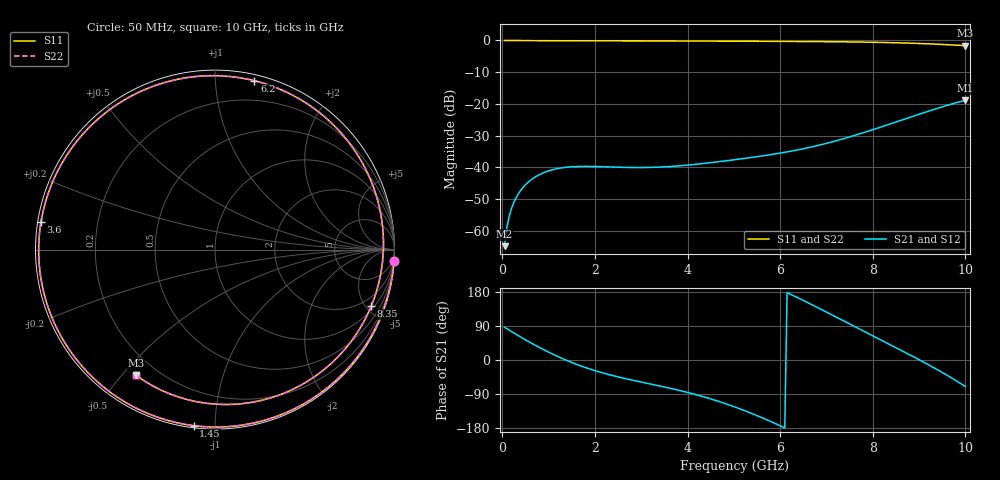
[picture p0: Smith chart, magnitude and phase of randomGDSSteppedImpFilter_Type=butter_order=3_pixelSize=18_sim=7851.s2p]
! freq	dB(S11)	phase(S11)	dB(S12)	phase(S12)
!  dB(S21)	phase(S21)	dB(S22)	phase(S22)
!S-par simulation data
#  GHz  S  DB  R 50
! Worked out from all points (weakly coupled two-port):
!   200 points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, 50 MHz to 10 GHz, reference 50 ohm
!   highest |S21| = -18.90 dB at 10 GHz (marker M1); lowest = -64.9 dB at 50 MHz (marker M2)
!   lowest |S11| = -1.6 dB at 10 GHz (marker M3), VSWR 10.57, Z = 6.16 - j27.3 ohm
!   |S11| at or under -10 dB: nowhere
!   |S22| runs from -1.6 to 0.0 dB; largest |S21 - S12| = 0
!   S11 on the Smith chart (normalised r, x): 50 MHz: 0, -30; 1.45 GHz: 0.01, -0.89; 3.6 GHz: 0.01, +0.08; 6.2 GHz: 0.04, +1.26; 8.35 GHz: 1.24, -5.44; 10 GHz: 0.12, -0.55
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0.05  -0.00 -3.8  -64.91 86.2  -64.91 86.2  -0.00 -3.8
0.1  -0.01 -7.5  -58.91 82.4  -58.91 82.4  -0.01 -7.5
0.2  -0.02 -14.9  -52.97 75.0  -52.97 75.0  -0.02 -14.9
0.45  -0.05 -33.1  -46.35 56.8  -46.35 56.8  -0.05 -33.1
0.95  -0.08 -67.1  -41.41 23.8  -41.41 23.8  -0.08 -67.1
1.45  -0.10 -96.9  -39.91 -4.1  -39.91 -4.1  -0.10 -96.9
1.75  -0.11 -112.8  -39.72 -18.0  -39.72 -18.0  -0.11 -112.8
2.55  -0.13 -149.2  -40.02 -46.1  -40.02 -46.1  -0.13 -149.2
3.4  -0.16 178.1  -39.96 -68.5  -39.96 -68.5  -0.16 178.1
3.6  -0.16 170.8  -39.80 -73.9  -39.80 -73.9  -0.16 170.8
4.3  -0.19 146.2  -38.89 -95.4  -38.89 -95.4  -0.19 146.2
5.05  -0.22 119.8  -37.57 -125.2  -37.57 -125.2  -0.22 119.8
5.65  -0.26 97.9  -36.36 -154.5  -36.36 -154.5  -0.26 97.9
6.2  -0.30 76.8  -35.03 175.0  -35.03 175.0  -0.30 76.9
6.7  -0.35 56.6  -33.54 145.1  -33.54 145.1  -0.35 56.6
7.6  -0.47 16.9  -30.00 89.0  -30.00 89.0  -0.47 16.9
8  -0.57 -2.3  -28.16 64.0  -28.16 64.0  -0.57 -2.2
8.35  -0.67 -19.9  -26.48 42.1  -26.48 42.1  -0.67 -19.8
8.8  -0.85 -44.0  -24.28 13.6  -24.28 13.6  -0.85 -44.0
9.3  -1.13 -73.5  -21.87 -19.1  -21.87 -19.1  -1.13 -73.4
9.65  -1.37 -96.4  -20.27 -43.6  -20.27 -43.6  -1.37 -96.4
10  -1.65 -122.1  -18.90 -70.1  -18.90 -70.1  -1.65 -122.0
